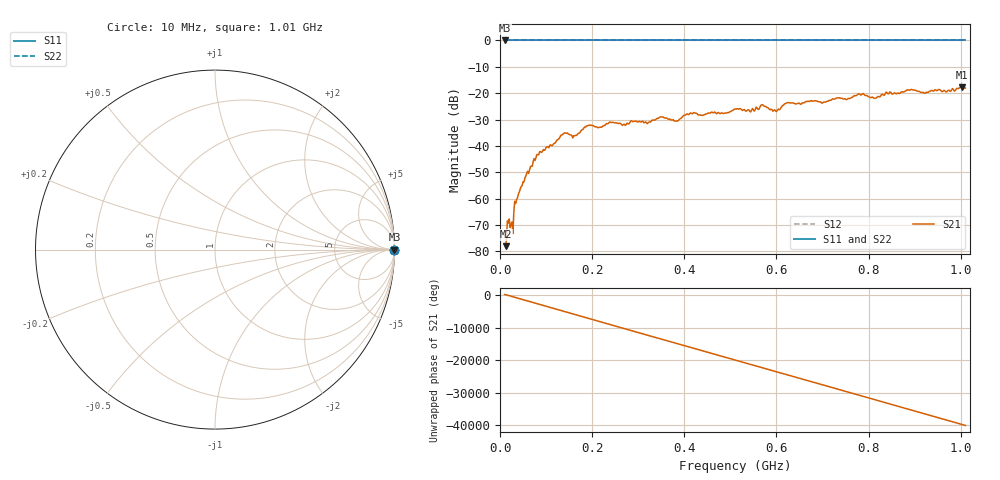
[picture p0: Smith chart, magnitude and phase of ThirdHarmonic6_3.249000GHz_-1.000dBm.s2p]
! 8/17/2025 9:59:46 AM
! C:\ANRITSUVNA\TEMP\TEMP.S2P
! CHANNEL.1
! TR.MEASUREMENT
! RAW.DATA
! RF.CORRECTION.OFF
! AVERAGING.OFF
! IF.BANDWIDTH: 5KHZ
! SWEEPTYPE:  FREQ.SWEEP(Linear)
! Reference Plane Port Info
! PORT:  PORT1  PORT2
! DISTANCE:  0  m  0  m
! TIME:  0  s  0  s
! PHASE.OFFSET:  0  deg.  0  deg.
! LOSS:  0  dB  0  dB
! REF.LOSS:  0  dB  0  dB
! REF.FREQ:  0  Hz  0  Hz
! Power Info
! POWER:  -20  dBm  -20  dBm
! EFF.POWER:  -20  dBm  -20  dBm
! SOURCE.ATTEN:  0  dB  0  dB
! TEST.ATTEN:  0  dB  0  dB
# GHZ S RI R 50.0
! FREQ.GHZ  S11RE  S11IM  S21RE  S21IM  S12RE  S12IM  S22RE  S22IM
!; PortSelection: Port_12
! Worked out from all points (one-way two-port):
!   501 points, 10 MHz to 1.01 GHz, reference 50 ohm
!   highest |S21| = -17.72 dB at 1.002 GHz (marker M1); lowest = -78.1 dB at 12 MHz (marker M2)
!   lowest |S11| = 0.0 dB at 10 MHz (marker M3)
!   |S11| at or under -10 dB: nowhere
!   |S22| runs from 0.0 to 0.0 dB; largest |S21 - S12| = 1.1
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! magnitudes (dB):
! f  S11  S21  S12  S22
! 10 MHz  0.0  -77.2  0.0  0.0
! 12 MHz  0.0  -78.1  0.0  0.0
! 20 MHz  0.0  -67.7  0.0  0.0
! 26 MHz  0.0  -68.9  0.0  0.0
! 34 MHz  0.0  -61.9  0.0  0.0
! 42 MHz  0.0  -57.5  0.0  0.0
! 78 MHz  0.0  -44.6  0.0  0.0
! 136 MHz  0.0  -35.8  0.0  0.0
! 162 MHz  0.0  -36.2  0.0  0.0
! 178 MHz  0.0  -33.9  0.0  0.0
! 344 MHz  0.0  -29.5  0.0  0.0
! 382 MHz  0.0  -30.6  0.0  0.0
! 416 MHz  0.0  -27.8  0.0  0.0
! 510 MHz  0.0  -26.0  0.0  0.0
! 570 MHz  0.0  -24.4  0.0  0.0
! 596 MHz  0.0  -26.3  0.0  0.0
! 622 MHz  0.0  -23.7  0.0  0.0
! 678 MHz  0.0  -23.0  0.0  0.0
! 814 MHz  0.0  -21.9  0.0  0.0
! 844 MHz  0.0  -20.2  0.0  0.0
! 1.002 GHz  0.0  -17.7  0.0  0.0
! 1.01 GHz  0.0  -18.1  0.0  0.0
